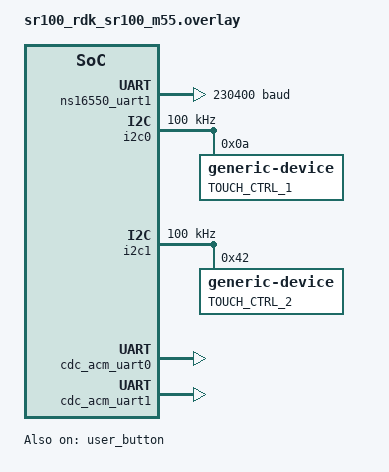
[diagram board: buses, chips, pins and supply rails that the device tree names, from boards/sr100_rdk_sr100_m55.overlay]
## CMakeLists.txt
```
#
# Copyright (c) 2025 Synaptics Incorporated
#
# SPDX-License-Identifier: Apache-2.0
#

cmake_minimum_required(VERSION 3.20.0)

find_package(Zephyr REQUIRED HINTS $ENV{ZEPHYR_BASE})

set(REMOTE_ZEPHYR_DIR ${CMAKE_CURRENT_BINARY_DIR}/../remote/zephyr)

if(BOARD STREQUAL "sr100_rdk" AND BOARD_QUALIFIERS MATCHES "^sr100/[^/]+$")
  message(STATUS "${BOARD}/${BOARD_QUALIFIERS} compile as HOST in this sample")
else()
  message(FATAL_ERROR "${BOARD}/${BOARD_QUALIFIERS} is not supported for this sample")
endif()

project(ipc_data_pipeline)

enable_language(C ASM)

add_compile_definitions(DEBUG_RUNTIME_LOGS=0)

target_include_directories(app PRIVATE ${CMAKE_CURRENT_SOURCE_DIR}/include)
target_sources(app PRIVATE
    src/main.c
    src/input_device.c
)
```

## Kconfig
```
# Copyright (c) 2025 Synaptics Incorporated
#
# SPDX-License-Identifier: Apache-2.0

source "samples/subsys/usb/common/Kconfig.sample_usbd"

source "Kconfig.zephyr"

config INCLUDE_REMOTE_DIR
	bool "Include remote core header directory"
	help
	  Include remote build header files. Can be used if primary image
	  needs to be aware of size or base address of secondary image

config SAMPLE_HID_EVENT_DIVIDER
	int "HID event divider for keyboard injection"
	range 1 1000
	default 1
	help
	  Emit one HID keyboard transition every N mailbox events.
	  Set to 1 for production behavior (no decimation).
	  Use higher values only for debug pacing.
```

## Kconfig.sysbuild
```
# Copyright 2026 Synaptics Incorporated
#
# SPDX-License-Identifier: Apache-2.0

source "share/sysbuild/Kconfig"

config REMOTE_BOARD
	string "Remote board"
	default "sr100_rdk/sr100/m4" if "$(BOARD)/$(BOARD_QUALIFIERS)" = "sr100_rdk/sr100/m55"
```

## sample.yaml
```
sample:
  name: IPC Data Pipeline sample
common:
  tags: mbox ipc
  timeout: 30
tests:
  sample.drivers.ipc_data_pipeline:
    filter: dt_compat_enabled("vnd,mbox-consumer")
    platform_allow:
      - sr100_rdk/sr100/m55
      - sr100_rdk/sr100/m4
    integration_platforms:
      - sr100_rdk/sr100/m55
    harness: console
    harness_config:
      type: multi_line
      ordered: false
      regex:
        - "Client send \\(on channel.*\\) value:.*"
        - "Server receive \\(on channel.*\\) value:.*"
        - "mbox_data Client demo ended"
```

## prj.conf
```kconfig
CONFIG_LOG=y
CONFIG_LOG_MODE_DEFERRED=y
CONFIG_LOG_BACKEND_SHOW_TIMESTAMP=y
CONFIG_LOG_DEFAULT_LEVEL=3
CONFIG_MBOX=y
CONFIG_THREAD_NAME=y
CONFIG_EVENTS=y
CONFIG_GPIO=y
CONFIG_INPUT=y
CONFIG_I2C=y

# USB CDC ACM and HID composite support on HOST.
CONFIG_USB_DEVICE_STACK_NEXT=y
CONFIG_CDC_ACM_SERIAL_INITIALIZE_AT_BOOT=n
CONFIG_USBD_HID_SUPPORT=y
CONFIG_SERIAL=y
CONFIG_UART_LINE_CTRL=y
CONFIG_USBD_CDC_ACM_CLASS=y
CONFIG_USBD_MAX_SPEED_FULL=y
CONFIG_UDC_DRIVER_HIGH_SPEED_SUPPORT_ENABLED=n
CONFIG_USBD_BOS_SUPPORT=n
CONFIG_USBD_VREQ_SUPPORT=n
CONFIG_UDC_BUF_POOL_SIZE=2048
CONFIG_USBD_MAX_UDC_MSG=8
CONFIG_USBD_MSG_SLAB_COUNT=8
CONFIG_USBD_HWINFO_DEVID_LENGTH=8
CONFIG_USBD_THREAD_STACK_SIZE=2048
CONFIG_UDC_DWC2_STACK_SIZE=2048
CONFIG_USBD_LOG_LEVEL_ERR=y
CONFIG_USBD_HID_LOG_LEVEL_ERR=y
CONFIG_USBD_CDC_ACM_LOG_LEVEL_ERR=y
CONFIG_UDC_DRIVER_LOG_LEVEL_ERR=y
CONFIG_SAMPLE_USBD_PID=0x0007
CONFIG_SAMPLE_USBD_PRODUCT="USBD CDC ACM & HID sample"
CONFIG_USB_CDC_LAYER=y
CONFIG_USB_HID_LAYER=y
CONFIG_USB_HID_KEYBOARD=y
CONFIG_USB_HID_MOUSE=y
CONFIG_USB_HID_PROFILES_ALL=y
CONFIG_USB_HID_ALS=y
CONFIG_USB_HID_PTP=y
CONFIG_USB_HID_TSP=y
CONFIG_USB_HID_CUSTOM=y
CONFIG_USB_HID_HUMAN_PRESENCE=y
CONFIG_USB_HID_GENERIC_ALGO=y
```

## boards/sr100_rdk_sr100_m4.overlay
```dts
&i2c0_ms_scl {
    bias-pull-up;
};

&i2c0_ms_sda {
    bias-pull-up;
};

&i2c0 {
    status = "disabled";
};

&user_button {
    status = "disabled";
};

&ipc0 {
    /* Must match the peer core build: 512 bytes MTU per direction. */
    shared-memory-size = <0x400>;
};
```

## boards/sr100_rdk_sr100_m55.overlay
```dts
&{/chosen} {
    zephyr,console = &ns16550_uart1;
    zephyr,shell-uart = &ns16550_uart1;
};

/ {
};

&ns16550_uart1 {
    status = "okay";
    current-speed = <230400>;
    dlf = <2>;
};

&i2c0_ms_scl {
    bias-pull-up;
};

&i2c0_ms_sda {
    bias-pull-up;
};

&i2c1_ms_scl_b {
    bias-pull-up;
};

&i2c1_ms_sda_b {
    bias-pull-up;
};

&i2c0 {
    status = "okay";
    pinctrl-0 = <&i2c0_ms_scl &i2c0_ms_sda>;
    pinctrl-names = "default";
    clock-frequency = <I2C_BITRATE_STANDARD>;

     i2c_controller_1: i2c_controller_1@0a {
        compatible = "generic-device";
        reg = <0x0a>;
        label = "TOUCH_CTRL_1";
    };
};

&i2c1 {
    status = "okay";
    /* i2cM1 on SWIRE bank: GPIO42=SCL, GPIO43=SDA */
    pinctrl-0 = <&i2c1_ms_scl_b &i2c1_ms_sda_b>;
    pinctrl-names = "default";
    clock-frequency = <I2C_BITRATE_STANDARD>;

     i2c_controller_2: i2c_controller_2@42 {
        compatible = "generic-device";
        reg = <0x42>;
        label = "TOUCH_CTRL_2";
    };
};

&user_button {
    status = "okay";
};

&zephyr_udc0 {
    cdc_acm_uart0: cdc_acm_uart0 {
        compatible = "zephyr,cdc-acm-uart";
        label = "CDC ACM Uart 0";
    };

    cdc_acm_uart1: cdc_acm_uart1 {
        compatible = "zephyr,cdc-acm-uart";
        label = "CDC ACM Uart 1";
    };

    hid_input_dev_0: hid_input_dev_0 {
        compatible = "zephyr,hid-device";
        label = "HID Input Devices";
        protocol-code = "none";
        in-report-size = <64>;
        in-polling-period-us = <1000>;
    };

    hid_custom_als_0: hid_custom_als_0 {
        compatible = "zephyr,hid-device";
        label = "HID Custom and Ambient Light";
        protocol-code = "none";
        in-report-size = <255>;
        in-polling-period-us = <1000>;
        out-report-size = <255>;
        out-polling-period-us = <1000>;
    };

    hid_hpd_0: hid_hpd_0 {
        compatible = "zephyr,hid-device";
        label = "HID Human Presence and Custom HPD";
        protocol-code = "none";
        in-report-size = <64>;
        in-polling-period-us = <1000>;
    };
};

&ipc0 {
    /* Must match the M4 build: 512 bytes MTU per direction. */
    shared-memory-size = <0x400>;
};
```

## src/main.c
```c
/*
 * Copyright (c) 2025 Synaptics Incorporated
 *
 * @brief HOST-side entry and task orchestration for the mailbox pipeline.
 *
 * @file main.c
 *
 * SPDX-License-Identifier: Apache-2.0
 */

#include <stdio.h>
#include <stdlib.h>
#include <string.h>
#include <errno.h>
#include <zephyr/kernel.h>
#include <zephyr/drivers/mbox.h>
#include <zephyr/drivers/gpio.h>
#include <zephyr/drivers/i2c.h>
#include <zephyr/logging/log.h>
#include <zephyr/usb/class/hid.h>
#include <usb_hid_stack_service.h>
#include <usb_cdc_stack_service.h>
#include "mbox_common.h"
#include "input_device.h"

LOG_MODULE_REGISTER(ipc_host, CONFIG_LOG_DEFAULT_LEVEL);

/* ============================================================================
 * Global Definitions
 * ============================================================================ */

/* Task stack sizes and priorities. */
#define INPUTDEV_TASK_STACK_SIZE  1024
/* Stack size for HID processing task. */
#define HID_TASK_STACK_SIZE    1024
/* Zephyr priority for per-device input polling/forwarding tasks. */
#define INPUTDEV_TASK_PRIORITY    5
/* Zephyr priority for HID forwarding task (higher than input tasks). */
#define HID_TASK_PRIORITY      4
/* Consecutive hard I2C failures required before entering recovery mode. */
#define INPUTDEV_HARD_ERR_RECOVERY_THRESHOLD 5u

/* Bring-up visibility: print every HID packet on HOST UART. */
#define HID_PRINT_EVERY_N      5u
/* Temporary bring-up toggle: route HID events to mouse report path. */
#define HID_MOUSE_ENABLED_TEST 1u
/* Number of mailbox events used for mouse-only bring-up demo. */
#define HID_MOUSE_TEST_MAX_REPORTS 10u
/* Delay between successful mouse demo reports in milliseconds. */
#define HID_MOUSE_TEST_DELAY_MS 125u

/* Sample-selected keyboard key sent on each mailbox-triggered HID event. */
#define SAMPLE_HID_KEYCODE_SRC1 HID_KEY_A
/* Source-2 selected keyboard key for mailbox-triggered HID events. */
#define SAMPLE_HID_KEYCODE_SRC2 HID_KEY_B
/* Retry budget for transient HID host-not-ready windows. */
#define SAMPLE_HID_SEND_RETRY_COUNT 5U
/* Delay between HID send retries when host endpoint is temporarily busy. */
#define SAMPLE_HID_SEND_RETRY_DELAY_MS 2U
/* Hold key briefly before release to keep key transition explicit on host. */
#define SAMPLE_HID_KEY_HOLD_MS 2U

/* DEBUG NOTES:
 * The commented LOG_* lines in this file are intentionally kept for troubleshooting.
 * Uncomment them temporarily when diagnosing mailbox/HID flow issues.
 */

/* Thread stacks: one per input device task, and one for HID task. */
K_THREAD_STACK_ARRAY_DEFINE(inputdev_task_stacks, INPUT_DEVICE_COUNT, INPUTDEV_TASK_STACK_SIZE);
K_THREAD_STACK_DEFINE(hid_task_stack, HID_TASK_STACK_SIZE);

/* Thread control blocks for created task instances. */
static struct k_thread inputdev_task_data[INPUT_DEVICE_COUNT];
/* Thread control block for HID task instance. */
static struct k_thread hid_task_data;

/* Queue depth for ISR mailbox RX bursts before HID task drains messages. */
#define MBOX_TO_HID_MSGQ_DEPTH 128

/* Message queue connecting mailbox RX callback to HID task context. */
K_MSGQ_DEFINE(mbox_to_hid_msgq, sizeof(struct mbox_message), MBOX_TO_HID_MSGQ_DEPTH, 4);

/* Mailbox channel descriptors initialized during startup. */
static struct mbox_dt_spec g_tx_channel;
/* RX mailbox channel used by CLIENT->HOST callback path. */
static struct mbox_dt_spec g_rx_channel;

/* Cached TX mailbox MTU used by input processing tasks. */
static size_t g_tx_mtu = sizeof(struct mbox_message);

/* ============================================================================
 * Function Prototypes
 * ============================================================================ */
static void mbox_rx_callback(const struct device *dev,
			     mbox_channel_id_t channel_id,
			     void *user_data,
			     struct mbox_msg *data); // ISR mailbox payload descriptor
static void inputdev_task_entry(void *p1, void *p2, void *p3);
static void hid_task_entry(void *p1, void *p2, void *p3);
static bool inputdev_is_hard_i2c_error(int ret);
static int hid_send_keyboard_key_retry(uint8_t keycode);
static uint8_t hid_keycode_for_source(source_t source);
static int hid_send_mouse_retry(uint32_t counter);
static void hid_send_reports(source_t source, uint32_t counter);
static int init_usb_services(void);

/* ============================================================================
 * Local Function Implementations
 * ============================================================================ */

 /**
 * \function inputdev_is_hard_i2c_error
 *
 * \brief Classify I2C failures that require stopping reads until recovery.
 *
 * \param ret Return code from I2C read path.
 *
 * \return true when reads must pause and recovery mode should run.
 */
static bool inputdev_is_hard_i2c_error(int ret)
{
	return (ret == -EIO) || (ret == -ENXIO);
} /* inputdev_is_hard_i2c_error */

/**
 * \function mbox_rx_callback
 *
 * \brief Mailbox receive callback - forwards messages to HID task.
 *
 * \details Copies received mailbox message data into queue for HID task processing.
 *          Called by mailbox driver in ISR context when message arrives from CLIENT.
 *
 * \param dev Mailbox device pointer.
 * \param channel_id Channel identifier for received message.
 * \param user_data User-defined context pointer (unused).
 * \param data Mailbox message containing payload from CLIENT.
 * \return None (void).
 */
static void mbox_rx_callback(const struct device *dev, mbox_channel_id_t channel_id,
			     void *user_data, struct mbox_msg *data)
{
	struct mbox_message rx_msg;             // Decoded payload copied from the ISR data buffer

	ARG_UNUSED(dev);
	ARG_UNUSED(channel_id);
	ARG_UNUSED(user_data);

	#if DEBUG_RUNTIME_LOGS
		/* Number of short/invalid mailbox packets discarded in callback. */
		static uint32_t g_hid_short_packet_count;
		/* Validate received data size */
		if (data->size < sizeof(rx_msg)) {
			g_hid_short_packet_count++;
			if ((g_hid_short_packet_count == 1u) ||
				((g_hid_short_packet_count % 10u) == 0u)) {
					// Debug-only log kept commented; see DEBUG NOTES above.
					LOG_WRN("[HOST_MBOX_RX] short packet: size=%u need=%u dropped=%u",
							(unsigned int)data->size,
							(unsigned int)sizeof(rx_msg),
							(unsigned int)g_hid_short_packet_count);
			}
			return;
		}
	#endif

	memcpy(&rx_msg, data->data, sizeof(rx_msg));

	/* Queue message to HID_Task - non-blocking in ISR context */
	if (k_msgq_put(&mbox_to_hid_msgq, &rx_msg, K_NO_WAIT) != 0) {
		#if DEBUG_RUNTIME_LOGS
			/* Queue diagnostic counters for ISR->HID handoff path. */
			static uint32_t g_hid_msgq_drop_count;
			g_hid_msgq_drop_count++;
			if ((g_hid_msgq_drop_count == 1u) || ((g_hid_msgq_drop_count % 10u) == 0u)) {
					// Debug-only log kept commented; see DEBUG NOTES above.
					LOG_WRN("[HOST_MBOX_RX] HID queue full, dropped=%u",
							(unsigned int)g_hid_msgq_drop_count);
			}
		#endif
	} else {
		#if DEBUG_RUNTIME_LOGS			
			/* Number of mailbox messages successfully enqueued to HID task. */
			static uint32_t g_hid_msgq_put_count;
			g_hid_msgq_put_count++;
			if ((g_hid_msgq_put_count == 1u) || ((g_hid_msgq_put_count % 10u) == 0u)) {
					// Debug-only log kept commented; see DEBUG NOTES above.
					LOG_INF("[HOST_MBOX_RX] queued source=%u counter=%u puts=%u",
							(unsigned int)rx_msg.source,
							(unsigned int)rx_msg.counter,
							(unsigned int)g_hid_msgq_put_count);
			}
		#endif
	}
} /* mbox_rx_callback */

/**
 * \function inputdev_task_entry
 *
 * \brief Input-device task - Generic task for handling an input device.
 *
 * \details Waits for input device data request events from the queue, performs I2C reads from
 *          the device on data ready events, and sends data to CLIENT via TX mailbox.
 *          This is a generic implementation that works with any input device instance.
 *
 * \param p1 Pointer to the input device instance (struct input_device *).
 * \param p2 Unused thread parameter.
 * \param p3 Unused thread parameter.
 * \return None (void).
 */
static void inputdev_task_entry(void *p1, void *p2, void *p3)
{
	struct input_device *dev = (struct input_device *)p1; // Input device instance for this task
	struct inputdev_event_msg event;                      // Event dequeued from the per-device event queue
	int ret;                                              // Return code from event wait and read calls
	uint32_t hard_i2c_err_streak = 0u;                    // Consecutive hard I2C failures while GPIO is asserted

	ARG_UNUSED(p2);
	ARG_UNUSED(p3);

	LOG_INF("[%s_Task] Started on HOST", dev->config->name);

	/* Purge any stale events from initialization */
	inputdev_purge_events(dev);

	while (1) {
		/* Strict ISR-driven flow: never perform I2C without a queued GPIO event. */
		ret = inputdev_wait_event(dev, &event, K_FOREVER);

		if (ret != 0) {
			continue;
		}

		if (event.type == INPUTDEV_EVENT_DATA_READY) {
			/* Keep requesting while the original data-ready GPIO remains asserted. */
			while (inputdev_get_status(dev) == 0U) {
				ret = inputdev_handle_data_request(dev, &g_tx_channel, g_tx_mtu);
				if (ret != 0) {
					if (inputdev_is_hard_i2c_error(ret)) {
						hard_i2c_err_streak++;
						if (hard_i2c_err_streak < INPUTDEV_HARD_ERR_RECOVERY_THRESHOLD) {
							k_msleep(1);
							continue;
						}

						/*
						 * Enter recovery mode: stop issuing I2C transactions while data-ready
						 * remains asserted (GPIO low), then re-run startup probe once line
						 * returns high.
						 */
						LOG_WRN("[%s_Task] I2C hard error streak=%u (err=%d), pausing until GPIO high",
							dev->config->name,
							(unsigned int)hard_i2c_err_streak,
							ret);

						while (inputdev_get_status(dev) == 0U) {
							k_msleep(5);
						}

						inputdev_purge_events(dev);
						inputdev_reset_sequence(dev);
						inputdev_probe_transfer_path(dev);
						hard_i2c_err_streak = 0u;
						LOG_INF("[%s_Task] Recovery complete, waiting for next DATA_READY edge",
							dev->config->name);
						break;
					}

					hard_i2c_err_streak = 0u;

					/*
					 * A transient I2C failure must not terminate the while-low drain,
					 * otherwise no new falling edge arrives and reads stop permanently.
					 */
					k_msleep(1);
					continue;
				}

				hard_i2c_err_streak = 0u;
				k_yield();
			}
		}
	}
} /* inputdev_task_entry */

/**
 * \function hid_log_send_error
 *
 * \brief Log HID send failures that are not transient host-not-ready cases.
 *
 * \param report_name Short profile name used in the warning message.
 * \param ret Return code from the HID send helper.
 * \return None (void).
 */
static void hid_log_send_error(const char *report_name, int ret)
{
	if (ret != 0 && ret != -EAGAIN) {
		LOG_WRN("[HID_Task] %s report failed, %d", report_name, ret);
	}
} /* hid_log_send_error */

/**
 * \function hid_send_keyboard_key_retry
 *
 * \brief Send one keyboard key report with retries for transient -EAGAIN.
 *
 * \param keycode Keyboard usage ID (0 means key-release report).
 * \return 0 on success, otherwise last negative errno from send helper.
 */
static int hid_send_keyboard_key_retry(uint8_t keycode)
{
	int ret;           // Return code from usb_hid_stack_send_keyboard_key()
	uint32_t attempt;  // Retry loop index for transient -EAGAIN handling

	for (attempt = 0U; attempt < SAMPLE_HID_SEND_RETRY_COUNT; attempt++) {
		ret = usb_hid_stack_send_keyboard_key(keycode);
		if (ret == 0) {
			return 0;
		}

		if (ret != -EAGAIN) {
			return ret;
		}

		k_sleep(K_MSEC(SAMPLE_HID_SEND_RETRY_DELAY_MS));
	}

	return ret;
} /* hid_send_keyboard_key_retry */

/**
 * \function hid_keycode_for_source
 *
 * \brief Resolve keyboard keycode from mailbox source interface.
 *
 * \param source Source interface value carried in mailbox message.
 * \return HID keycode for supported sources; 0 when source is unsupported.
 */
static uint8_t hid_keycode_for_source(source_t source)
{
	if (source == INPUT_DEVICE_1) {
		return SAMPLE_HID_KEYCODE_SRC1;
	}

	if (source == INPUT_DEVICE_2) {
		return SAMPLE_HID_KEYCODE_SRC2;
	}

	return 0U;
} /* hid_keycode_for_source */

/**
 * \function hid_send_mouse_retry
 *
 * \brief Send one mouse report with retries for transient -EAGAIN.
 *
 * \param counter Mailbox counter propagated to the HID mouse helper.
 * \return 0 on success, otherwise last negative errno from send helper.
 */
static int hid_send_mouse_retry(uint32_t counter)
{
	int ret = -EAGAIN;                           // Safe default if retry count is 0
	const uint32_t max_attempts = SAMPLE_HID_SEND_RETRY_COUNT;

	/* Explicitly handle disabled retry budget. */
	if (max_attempts == 0U) {
		return -EAGAIN;
	}

	for (uint32_t attempt = 0U; attempt < max_attempts; ++attempt) {
		ret = usb_hid_stack_send_mouse(counter);

		/* Return on success, hard error, or after the final retry attempt. */
		if (ret != -EAGAIN || (attempt + 1U) == max_attempts) {
			return ret;
		}

		/* Only transient -EAGAIN reaches here: wait briefly before retrying. */
		k_sleep(K_MSEC(SAMPLE_HID_SEND_RETRY_DELAY_MS));
	}

	/* Defensive fallback; loop normally exits via return above. */
	return ret;
} /* hid_send_mouse_retry */

/**
 * \function hid_send_reports
 *
 * \brief Submit the sample-selected HID report for a mailbox event.
 *
 * \details The sample currently emits a keyboard report only, with the keycode
 *          selected locally in this file.
 *
 * \param source Mailbox source interface used for keyboard A/B key selection.
 * \param counter Mailbox counter value associated with the HID event.
 * \return None (void).
 */
static void hid_send_reports(source_t source, uint32_t counter)
{
	int ret; // Return code from HID helper send calls

#if HID_MOUSE_ENABLED_TEST
	{
		static uint32_t g_hid_mouse_send_count; // Count of successful mouse test reports sent so far
		static bool g_hid_mouse_test_done;      // One-shot latch to avoid repeating completion log

		if (g_hid_mouse_send_count < HID_MOUSE_TEST_MAX_REPORTS) {
			ret = hid_send_mouse_retry(counter);
			hid_log_send_error("Mouse", ret);

			if (ret == 0) {
				g_hid_mouse_send_count++;
				LOG_INF("[HID_Task] Mouse test send %u/%u (source=%u counter=%u)",
					(unsigned int)g_hid_mouse_send_count,
					(unsigned int)HID_MOUSE_TEST_MAX_REPORTS,
					(unsigned int)source,
					(unsigned int)counter);

				if (g_hid_mouse_send_count == HID_MOUSE_TEST_MAX_REPORTS) {
					g_hid_mouse_test_done = true;
					LOG_INF("[HID_Task] Mouse test complete (%u reports), resuming keyboard A/B",
						(unsigned int)g_hid_mouse_send_count);
				}

				k_msleep(HID_MOUSE_TEST_DELAY_MS);
			}

			return;
		}

		if (!g_hid_mouse_test_done) {
			g_hid_mouse_test_done = true;
			LOG_INF("[HID_Task] Mouse test complete (%u reports), resuming keyboard A/B",
				(unsigned int)g_hid_mouse_send_count);
		}
	}
#else
	ARG_UNUSED(counter);
#endif

	{
	uint8_t keycode;                      // Selected keyboard keycode mapped from source interface

	keycode = hid_keycode_for_source(source);
	if (keycode != 0U) {
		ret = hid_send_keyboard_key_retry(keycode);
		hid_log_send_error("Keyboard", ret);

		if (ret == 0) {
			k_sleep(K_MSEC(SAMPLE_HID_KEY_HOLD_MS));

			ret = hid_send_keyboard_key_retry(0U);
			hid_log_send_error("Keyboard release", ret);

			#if DEBUG_RUNTIME_LOGS
				static uint32_t g_hid_key_send_count; // Count of successful keyboard press/release cycles
				g_hid_key_send_count++;
				if ((g_hid_key_send_count == 1U) || ((g_hid_key_send_count % 10U) == 0U)) {
						// Debug-only log kept commented; see DEBUG NOTES above.
						LOG_INF("[HID_Task] keyboard press source=%u keycode=0x%02x count=%u",
							(unsigned int)source,
							(unsigned int)keycode,
							(unsigned int)g_hid_key_send_count);
				}
			#endif
			}
		}
	}
} /* hid_send_reports */

/**
 * \function hid_task_entry
 *
 * \brief HID task - Receives and processes messages from CLIENT.
 *
 * \details Infinite loop task that waits for messages from mailbox RX callback
 *          queue and logs received data. In production, would forward to USB HID stack.
 *
 * \param p1 Unused thread parameter.
 * \param p2 Unused thread parameter.
 * \param p3 Unused thread parameter.
 * \return None (void).
 */
static void hid_task_entry(void *p1, void *p2, void *p3)
{
	struct mbox_message rx_msg;             // Message received from CLIENT via mbox_to_hid_msgq

	ARG_UNUSED(p1);
	ARG_UNUSED(p2);
	ARG_UNUSED(p3);

	LOG_INF("[HID_Task] Started on HOST");

	while (1) {
		/* Wait for message from mbox callback */
		if (k_msgq_get(&mbox_to_hid_msgq, &rx_msg, K_FOREVER) != 0) {
			continue;
		}

		#if DEBUG_RUNTIME_LOGS
			/* Number of mailbox messages dequeued by HID task. */
			static uint32_t g_hid_msgq_get_count;

			g_hid_msgq_get_count++;
			if ((g_hid_msgq_get_count == 1u) || ((g_hid_msgq_get_count % 10u) == 0u)) {
					// Debug-only log kept commented; see DEBUG NOTES above.
					LOG_INF("[HID_Task] dequeued source=%u counter=%u gets=%u",
							(unsigned int)rx_msg.source,
							(unsigned int)rx_msg.counter,
							(unsigned int)g_hid_msgq_get_count);
			}
		#endif

		hid_send_reports(rx_msg.source, rx_msg.counter);
			
		if ((rx_msg.counter % HID_PRINT_EVERY_N) == 0u) {
			LOG_INF("[HID_Task] RX ch %d source %u counter %d time: " TS_FMT,
				g_rx_channel.channel_id,
				(unsigned int)rx_msg.source,
				rx_msg.counter,
				TS_ARGS(rx_msg.timestamp));
		}
	}
} /* hid_task_entry */

/**
 * \function init_usb_services
 *
 * \brief Initialize the stack-owned USB HID and CDC services.
 *
 * \details Brings up the HID stack service first, then the CDC stack service,
 *          and stops on the first initialization failure.
 *
 * \return 0 on success, negative errno on initialization failure.
 */
static int init_usb_services(void)
{
	int ret; // Return code from stack-owned USB service initializers

	ret = usb_hid_stack_service_init();
	if (ret != 0) {
		LOG_ERR("Failed to initialize HID stack service, %d", ret);
		return ret;
	}

	ret = usb_cdc_stack_service_init();
	if (ret != 0) {
		LOG_ERR("Failed to initialize CDC stack service, %d", ret);
		return ret;
	}

	return 0;
} /* init_usb_services */

/* ============================================================================
 * Exported Function Implementations
 * ============================================================================ */

/**
 * \function main
 *
 * \brief Application entry point - initializes dualcore mailbox pipeline.
 *
 * \details Sets up mailbox channels for HOST-CLIENT communication, initializes input
 *          devices with reset sequence, creates input device and HID tasks, and waits
 *          for task completion.
 *
 * \return 0 on normal completion, 0 on early exit due to initialization error.
 */
int main(void)
{
	struct input_device *indev; // Pointer to each input device instance during thread creation loop
	char thread_name[32];       // Buffer for constructing per-device thread name strings
	int i;                      // Loop index for iterating over all input devices
	int ret;                    // Return code from initialization and setup calls

	LOG_INF("Dualcore mbox data HOST SERVER - %s", CONFIG_BOARD_TARGET);

	/* Initialize mbox channels */
	g_tx_channel = (struct mbox_dt_spec)MBOX_DT_SPEC_GET(DT_PATH(mbox_consumer), tx);
	g_rx_channel = (struct mbox_dt_spec)MBOX_DT_SPEC_GET(DT_PATH(mbox_consumer), rx);

	const int max_transfer_size_bytes = mbox_mtu_get_dt(&g_tx_channel); // TX mailbox MTU in bytes; must cover mbox_message
	if ((max_transfer_size_bytes <= 0) ||
	    (max_transfer_size_bytes < (int)sizeof(struct mbox_message))) {
		LOG_ERR("mbox_mtu_get() error: MTU %d too small for message size %zu",
			max_transfer_size_bytes, sizeof(struct mbox_message));
		return -EINVAL;
	}
	g_tx_mtu = (size_t)max_transfer_size_bytes;

	if (mbox_register_callback_dt(&g_rx_channel, mbox_rx_callback, NULL)) {
		LOG_ERR("mbox_register_callback() error");
		return -EIO;
	}

	if (mbox_set_enabled_dt(&g_rx_channel, 1)) {
		LOG_ERR("mbox_set_enable() error");
		return -EIO;
	}

	/* Initialize all input devices using the abstraction layer */
	if (inputdev_init_all() != 0) {
		LOG_ERR("Input device initialization failed");
		return -EIO;
	}

	/* Execute GPIO reset sequence on all input devices */
	inputdev_reset_all();

	ret = init_usb_services();
	if (ret != 0) {
		return ret;
	}

	/* Create input device task threads */
	for (i = 0; i < INPUT_DEVICE_COUNT; i++) {
		indev = inputdev_get_device((inputdev_id_t)i);
		if (indev == NULL) {
			LOG_ERR("Failed to get input device %d", i);
			continue;
		}

		k_thread_create(&inputdev_task_data[i], inputdev_task_stacks[i],
				K_THREAD_STACK_SIZEOF(inputdev_task_stacks[i]),
				inputdev_task_entry, indev, NULL, NULL,
				INPUTDEV_TASK_PRIORITY, 0, K_NO_WAIT);

		snprintf(thread_name, sizeof(thread_name), "%s_Task", indev->config->name);
		k_thread_name_set(&inputdev_task_data[i], thread_name);
	}

	/* Create HID_Task thread */
	k_thread_create(&hid_task_data, hid_task_stack,
			K_THREAD_STACK_SIZEOF(hid_task_stack),
			hid_task_entry, NULL, NULL, NULL,
			HID_TASK_PRIORITY, 0, K_NO_WAIT);
	k_thread_name_set(&hid_task_data, "HID_Task");

	LOG_INF("HOST threads started (%d input devices). Main thread sleeping.",
		INPUT_DEVICE_COUNT);

	/* Wait for first input device task to complete - blocks indefinitely */
	k_thread_join(&inputdev_task_data[0], K_FOREVER);

	LOG_INF("HOST Server demo ended.");
	return 0;
} /* main */
```

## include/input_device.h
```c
/*
 * Copyright (c) 2025 Synaptics Incorporated
 *
 * @brief Public API for input-device abstraction in the dualcore mailbox pipeline.
 *
 * @file input_device.h
 *
 * SPDX-License-Identifier: Apache-2.0
 */

#ifndef INPUT_DEVICE_H
/* Include guard for input-device public API. */
#define INPUT_DEVICE_H

#include <zephyr/kernel.h>
#include <zephyr/drivers/gpio.h>
#include <zephyr/drivers/i2c.h>
#include <zephyr/drivers/mbox.h>
#include <stdbool.h>
#include <stdint.h>
#include "mbox_common.h"

#ifdef __cplusplus
extern "C" {
#endif

/* ============================================================================
 * Global Definitions
 * ============================================================================ */

/** Maximum I2C receive data buffer size (write-read=25, read-only=21) */
#define INPUTDEV_I2C_RX_BUF_SIZE     25

/** Read-only transfer: plain read, 21-byte response */
#define INPUTDEV_READ_ONLY_RX_SIZE   21

/** Write-read transfer: write then read, 25-byte response */
#define INPUTDEV_WRITE_READ_RX_SIZE  25

/** Number of command bytes written to the slave for write-read transfer */
#define INPUTDEV_WRITE_READ_CMD_LEN  6

/** Invalid GPIO status return value */
#define INPUTDEV_GPIO_STATUS_INVALID 0xFFFFFFFFu

/** Default GPIO reset sequence delay in milliseconds */
#define INPUTDEV_RESET_SEQ_DELAY_MS  10

/** Event queue depth for input devices */
#define INPUTDEV_EVENT_QUEUE_DEPTH   8

/** Delay after each successful read transaction. */
#define INPUTDEV_POST_READ_DELAY_MS  5

/**
 * I2C probe addresses used during transfer-path auto-detection (8-bit IDs).
 *
 * Keep *_7BIT aliases aligned with the known-good transfer-path values used by this
 * project so bus transactions remain on 0x0A / 0x42 as validated on hardware.
 */
#define INPUTDEV_PROBE_ADDR_READ_ONLY   0x0Au
#define INPUTDEV_PROBE_ADDR_WRITE_READ  0x42u
#define INPUTDEV_PROBE_ADDR_READ_ONLY_7BIT INPUTDEV_PROBE_ADDR_READ_ONLY
#define INPUTDEV_PROBE_ADDR_WRITE_READ_7BIT INPUTDEV_PROBE_ADDR_WRITE_READ

/* ============================================================================
 * Forward Declarations
 * ============================================================================ */

/** Forward declaration for use in function pointer types */
struct input_device;

/* ============================================================================
 * Type Definitions
 * ============================================================================ */

/**
 * @brief Input device event types.
 */
typedef enum {
	INPUTDEV_EVENT_DATA_READY = 0,   /**< Data ready (GPIO falling edge) */
	INPUTDEV_EVENT_ERROR,            /**< Error condition */
} inputdev_event_type_t;

/**
 * @brief Input device event message structure.
 *
 * Queued from ISR to task for synchronized processing.
 */
struct inputdev_event_msg {
	inputdev_event_type_t type;      /**< Event type */
	int64_t timestamp;            /**< Kernel timestamp when event occurred */
};

/** Input device identifier */
typedef enum {
	INPUT_DEVICE_1 = 0,   /**< Input device 1 */
	INPUT_DEVICE_2 = 1,   /**< Input device 2 */
	INPUT_DEVICE_COUNT    /**< Number of input devices */
} inputdev_id_t;

/**
 * @brief Input device configuration structure.
 *
 * Contains all device-specific configuration parameters that are
 * set at initialization time and remain constant during operation.
 */
struct inputdev_config {
	const char *name;                   /**< Device name for logging */

	/* Data request GPIO (input with interrupt) */
	const struct device *data_req_port; /**< GPIO port for data request */
	gpio_pin_t data_req_pin;            /**< GPIO pin for data request */
	gpio_flags_t interrupt_flags;       /**< GPIO interrupt configuration flags */

	/* Reset GPIO (output) */
	const struct device *reset_port;    /**< GPIO port for reset control */
	gpio_pin_t reset_pin;               /**< GPIO pin for reset control */

	/* I2C configuration */
	struct i2c_dt_spec i2c;             /**< I2C device tree spec (bus + address) */
};

/**
 * @brief Input device operations structure (virtual function table).
 *
 * Allows for customization of device behavior. Each function pointer
 * can be overridden to provide device-specific implementations.
 * If NULL, the default implementation is used.
 */
struct inputdev_ops {
	/** Initialize device hardware. Returns 0 on success. */
	int (*init)(struct input_device *dev);

	/** Get data request GPIO status. Returns GPIO state or INPUTDEV_GPIO_STATUS_INVALID. */
	uint32_t (*get_status)(struct input_device *dev);

	/** Arm GPIO interrupt. Returns 0 on success. */
	int (*arm_interrupt)(struct input_device *dev);

	/** Execute reset sequence. */
	void (*reset)(struct input_device *dev);

	/** Read data via I2C. Returns 0 on success. */
	int (*read_data)(struct input_device *dev, uint8_t *buf, size_t len);
};

/**
 * @brief Input device runtime data structure.
 *
 * Contains mutable state that changes during device operation.
 */
struct inputdev_data {
	struct inputdev_ops ops_instance;   /**< Per-device ops copy (allows runtime customization) */
	struct gpio_callback gpio_cb;       /**< GPIO interrupt callback structure */
	struct k_msgq event_queue;          /**< Event message queue */
	char __aligned(4) event_queue_buf[INPUTDEV_EVENT_QUEUE_DEPTH * sizeof(struct inputdev_event_msg)];
	uint8_t rx_buf[INPUTDEV_I2C_RX_BUF_SIZE]; /**< I2C receive buffer */
	uint8_t mbox_tx_payload[sizeof(struct mbox_message) +
			       INPUTDEV_I2C_RX_BUF_SIZE]; /**< Per-device mbox TX buffer */
	uint16_t active_i2c_addr;           /**< Runtime-selected slave address for this interface (0x0A or 0x42) */
	uint32_t tx_counter;                /**< Message counter for mbox TX */
	uint32_t events_received;           /**< Total events received (debug) */
	uint32_t events_dropped;            /**< Events dropped due to full queue (debug) */
	bool initialized;                   /**< Device initialization status */
};

/**
 * @brief Input device instance structure.
 *
 * Combines configuration and runtime data into a single device object.
 * This is the primary handle used for all input device operations.
 */
struct input_device {
	const struct inputdev_config *config;    /**< Pointer to device configuration */
	struct inputdev_data *data;              /**< Pointer to device runtime data */
	const struct inputdev_ops *ops;          /**< Pointer to device operations (vtable) */
};

/* ============================================================================
 * Public API Prototypes
 * ============================================================================ */

/**
 * \function inputdev_get_default_ops
 *
 * \brief Get the default input device operations table.
 *
 * \param None.
 *
 * \return Pointer to default input-device operations.
 */
const struct inputdev_ops *inputdev_get_default_ops(void);

/**
 * \function inputdev_init
 *
 * \brief Initialize an input device.
 *
 * \param dev Pointer to the input device instance.
 *
 * \return 0 on success, negative error code on failure.
 */
int inputdev_init(struct input_device *dev);

/**
 * \function inputdev_get_status
 *
 * \brief Get the current data request GPIO status.
 *
 * \param dev Pointer to the input device instance.
 *
 * \return GPIO state (0 or 1), or INPUTDEV_GPIO_STATUS_INVALID on error.
 */
uint32_t inputdev_get_status(struct input_device *dev);

/**
 * \function inputdev_arm_interrupt
 *
 * \brief Arm the GPIO interrupt for the next falling edge.
 *
 * \param dev Pointer to the input device instance.
 *
 * \return 0 on success, negative error code on failure.
 */
int inputdev_arm_interrupt(struct input_device *dev);

/**
 * \function inputdev_reset_sequence
 *
 * \brief Execute the GPIO reset sequence for an input device.
 *
 * \param dev Pointer to the input device instance.
 *
 * \return None (void).
 */
void inputdev_reset_sequence(struct input_device *dev);

/**
 * \function inputdev_read_data
 *
 * \brief Read data from the input device via I2C.
 *
 * \param dev Pointer to the input device instance.
 * \param buf Buffer to store received data.
 * \param len Number of bytes to read.
 *
 * \return 0 on success, negative error code on failure.
 */
int inputdev_read_data(struct input_device *dev, uint8_t *buf, size_t len);

/**
 * \function inputdev_handle_data_request
 *
 * \brief Handle data request for an input device.
 *
 * \param dev Pointer to the input device instance.
 * \param tx_channel Pointer to mailbox TX channel spec.
 * \param mtu Maximum transfer unit for mailbox.
 *
 * \return 0 on success, negative error code on failure.
 */
int inputdev_handle_data_request(struct input_device *dev,
			      const struct mbox_dt_spec *tx_channel,
			      size_t mtu);

/**
 * \function inputdev_wait_event
 *
 * \brief Wait for an event from the input device event queue.
 *
 * \param dev Pointer to the input device instance.
 * \param event Pointer to store the received event.
 * \param timeout Timeout for waiting.
 *
 * \return 0 on success, -EAGAIN on timeout, negative error code on failure.
 */
int inputdev_wait_event(struct input_device *dev, struct inputdev_event_msg *event, k_timeout_t timeout);

/**
 * \function inputdev_peek_event
 *
 * \brief Peek at the next event without removing it from the queue.
 *
 * \param dev Pointer to the input device instance.
 * \param event Pointer to store the peeked event.
 *
 * \return 0 on success, -ENOMSG if queue is empty.
 */
int inputdev_peek_event(struct input_device *dev, struct inputdev_event_msg *event);

/**
 * \function inputdev_purge_events
 *
 * \brief Purge all events from the device queue.
 *
 * \param dev Pointer to the input device instance.
 *
 * \return None (void).
 */
void inputdev_purge_events(struct input_device *dev);

/**
 * \function inputdev_get_pending_events
 *
 * \brief Get the number of events pending in the queue.
 *
 * \param dev Pointer to the input device instance.
 *
 * \return Number of pending events.
 */
uint32_t inputdev_get_pending_events(struct input_device *dev);

/**
 * \function inputdev_get_event_stats
 *
 * \brief Get event statistics for debugging.
 *
 * \param dev Pointer to the input device instance.
 * \param received Pointer to store total events received (can be NULL).
 * \param dropped Pointer to store total events dropped (can be NULL).
 *
 * \return None (void).
 */
void inputdev_get_event_stats(struct input_device *dev, uint32_t *received, uint32_t *dropped);

/**
 * \function inputdev_probe_transfer_path
 *
 * \brief Auto-detect the I2C transfer path for a device.
 *
 * \param dev Pointer to the input device instance.
 *
 * \return None (void).
 */
void inputdev_probe_transfer_path(struct input_device *dev);

/**
 * \function inputdev_get_device
 *
 * \brief Get an input device instance by ID.
 *
 * \param id Input device identifier (INPUT_DEVICE_1 or INPUT_DEVICE_2).
 *
 * \return Pointer to the input device instance, or NULL if invalid ID.
 */
struct input_device *inputdev_get_device(inputdev_id_t id);

/**
 * \function inputdev_init_all
 *
 * \brief Initialize all input devices.
 *
 * \param None.
 *
 * \return 0 on success, negative error code if any device fails to initialize.
 */
int inputdev_init_all(void);

/**
 * \function inputdev_reset_all
 *
 * \brief Reset all input devices.
 *
 * \param None.
 *
 * \return None (void).
 */
void inputdev_reset_all(void);

/* ============================================================================
 * Macros for Device Definition
 * ============================================================================ */

/**
 * @brief Define an input device configuration.
 *
 * The I2C transfer path (read-only or write-read) is NOT set here;
 * it is determined at runtime by inputdev_probe_transfer_path() during init.
 * Write-read mode uses a fixed command of INPUTDEV_WRITE_READ_CMD_LEN bytes
 * (defined in input_device.c) for both probing and every subsequent read.
 *
 * @param _name      Device name string.
 * @param _req_port  Data request GPIO port device (DT_NODELABEL).
 * @param _req_pin   Data request GPIO pin number.
 * @param _int_flags GPIO interrupt flags (e.g., GPIO_INT_EDGE_FALLING).
 * @param _rst_port  Reset GPIO port device (DT_NODELABEL).
 * @param _rst_pin   Reset GPIO pin number.
 * @param _i2c_node  I2C device node (DT_NODELABEL) - must have reg property for address.
 */
#define INPUTDEV_CONFIG_DEFINE(_name, _req_port, _req_pin, _int_flags, _rst_port, _rst_pin, \
			       _i2c_node)                                                     \
	{                                                                                        \
		.name = _name,                                                                   \
		.data_req_port = DEVICE_DT_GET(DT_NODELABEL(_req_port)),                         \
		.data_req_pin = _req_pin,                                                        \
		.interrupt_flags = _int_flags,                                                   \
		.reset_port = DEVICE_DT_GET(DT_NODELABEL(_rst_port)),                            \
		.reset_pin = _rst_pin,                                                           \
		.i2c = I2C_DT_SPEC_GET(DT_NODELABEL(_i2c_node)),                                 \
	}

#ifdef __cplusplus
}
#endif

#endif /* INPUT_DEVICE_H */
```

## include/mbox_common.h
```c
/*
 * Copyright (c) 2025 Synaptics Incorporated
 *
 * @brief Shared mailbox message types and timestamp formatting utilities for HOST/CLIENT.
 *
 * @file mbox_common.h
 *
 * SPDX-License-Identifier: Apache-2.0
 */

#ifndef MBOX_COMMON_H
#define MBOX_COMMON_H

#include <stdint.h>

/* ============================================================================
 * Type Definitions
 * ============================================================================ */

/* Identifies the source interface of a mailbox message. */
typedef uint32_t source_t;

/* Mailbox payload header shared by HOST and CLIENT. */
struct mbox_message {
	source_t source;    /* Source interface identifier */
	uint32_t counter;   /* Message counter for sequence tracking */
	int64_t timestamp;  /* Kernel timestamp when message was created */
};

/* ============================================================================
 * Utility Macros
 * ============================================================================ */

/* Timestamp formatting macros for HH:MM:SS.mmm display */
#define TS_HRS(ms)  ((int)((ms) / 3600000))
#define TS_MIN(ms)  ((int)(((ms) / 60000) % 60))
#define TS_SEC(ms)  ((int)(((ms) / 1000) % 60))
#define TS_MS(ms)   ((int)((ms) % 1000))
#define TS_FMT      "%02d:%02d:%02d.%03d"
#define TS_ARGS(ms) TS_HRS(ms), TS_MIN(ms), TS_SEC(ms), TS_MS(ms)

#endif /* MBOX_COMMON_H */
```
